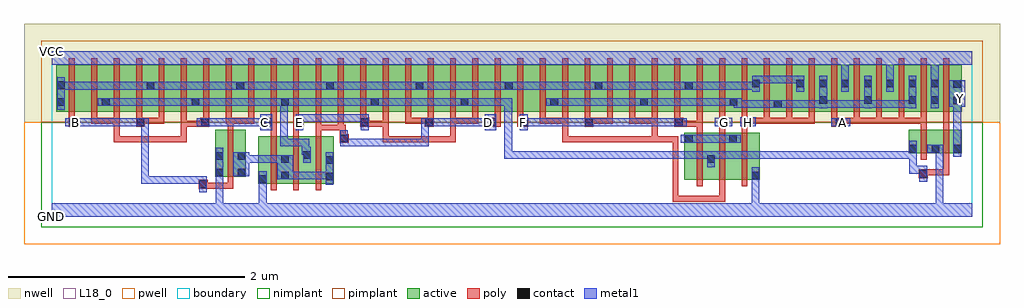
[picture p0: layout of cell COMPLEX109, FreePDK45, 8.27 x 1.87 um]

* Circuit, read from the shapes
.subckt COMPLEX109 A B C D E F G GND H VCC Y
M1 n1 B GND VSUBS nfet w=0.4u l=0.05u
M2 n1 C GND VSUBS nfet w=0.4u l=0.05u
M3 n2 E n1 VSUBS nfet w=0.4u l=0.05u
M4 n1 D n2 VSUBS nfet w=0.4u l=0.05u
M5 n2 F n3 VSUBS nfet w=0.4u l=0.05u
M6 n3 G n2 VSUBS nfet w=0.4u l=0.05u
M7 GND H n3 VSUBS nfet w=0.4u l=0.05u
M8 GND A n2 VSUBS nfet w=0.2u l=0.05u
M9 Y n2 GND VSUBS nfet w=0.2u l=0.05u
M10 n4 B n5 n6 pfet w=0.4u l=0.05u
M11 n2 C n4 n6 pfet w=0.4u l=0.05u
M12 n7 C n2 n6 pfet w=0.4u l=0.05u
M13 n5 B n7 n6 pfet w=0.4u l=0.05u
M14 n8 B n5 n6 pfet w=0.4u l=0.05u
M15 n2 C n8 n6 pfet w=0.4u l=0.05u
M16 n9 C n2 n6 pfet w=0.4u l=0.05u
M17 n5 B n9 n6 pfet w=0.4u l=0.05u
M18 n10 B n5 n6 pfet w=0.4u l=0.05u
M19 n2 C n10 n6 pfet w=0.4u l=0.05u
M20 n11 E n2 n6 pfet w=0.4u l=0.05u
M21 n5 D n11 n6 pfet w=0.4u l=0.05u
M22 n12 D n5 n6 pfet w=0.4u l=0.05u
M23 n2 E n12 n6 pfet w=0.4u l=0.05u
M24 n13 E n2 n6 pfet w=0.4u l=0.05u
M25 n5 D n13 n6 pfet w=0.4u l=0.05u
M26 n14 D n5 n6 pfet w=0.4u l=0.05u
M27 n2 E n14 n6 pfet w=0.4u l=0.05u
M28 n15 E n2 n6 pfet w=0.4u l=0.05u
M29 n5 D n15 n6 pfet w=0.4u l=0.05u
M30 n16 F n5 n6 pfet w=0.4u l=0.05u
M31 n17 G n16 n6 pfet w=0.4u l=0.05u
M32 n18 G n17 n6 pfet w=0.4u l=0.05u
M33 n5 F n18 n6 pfet w=0.4u l=0.05u
M34 n19 F n5 n6 pfet w=0.4u l=0.05u
M35 n17 G n19 n6 pfet w=0.4u l=0.05u
M36 n20 G n17 n6 pfet w=0.4u l=0.05u
M37 n5 F n20 n6 pfet w=0.4u l=0.05u
M38 n21 F n5 n6 pfet w=0.4u l=0.05u
M39 n17 G n21 n6 pfet w=0.4u l=0.05u
M40 n5 H n17 n6 pfet w=0.4u l=0.05u m=4
M41 VCC A n17 n6 pfet w=0.4u l=0.05u m=5
M42 Y n2 VCC n6 pfet w=0.4u l=0.05u
.ends

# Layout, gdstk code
import gdstk
lib = gdstk.Library(unit=1e-6, precision=1e-09)
def R(c, l, rs):  # rectangles x0, y0, x1, y1
    for r in rs: c.add(gdstk.rectangle(r[:2], r[2:], *l))
def A(c, l, x, y, w, h, nx, ny, dx, dy):  # array of equal rectangles
    R(c, l, [(x+i*dx, y+j*dy, x+i*dx+w, y+j*dy+h) for i in range(nx) for j in range(ny)])
active = (1, 0)
pwell = (2, 0)
nwell = (3, 0)
nimplant = (4, 0)
pimplant = (5, 0)
poly = (9, 0)
contact = (10, 0)
metal1 = (11, 0)
L18_0 = (18, 0)
boundary = (235, 0)

complex109 = lib.new_cell('COMPLEX109')
A(complex109, active, 0.04, 0.887, 0.225, 0.4, 10, 1, 0.38, 0)
A(complex109, active, 0.265, 0.887, 0.23, 0.4, 9, 1, 0.38, 0)
A(complex109, active, 4.825, 0.887, 0.23, 0.4, 3, 1, 0.38, 0)
A(complex109, active, 7.065, 0.887, 0.265, 0.4, 3, 1, 0.19, 0)
A(complex109, active, 0.42, 0.907, 0.075, 0.163, 7, 1, 0.76, 0)
A(complex109, active, 0.8, 0.907, 0.075, 0.293, 4, 1, 0.76, 0)
A(complex109, active, 6.685, 0.907, 0.075, 0.348, 3, 1, 0.38, 0)
R(complex109, active, [(1.75,0.28,2.015,0.68), (1.75,0.28,1.825,0.492), (1.94,0.28,2.2,0.68), (2.125,0.28,2.39,0.68), (2.315,0.28,2.39,0.68), (1.94,0.312,2.015,0.527), (5.36,0.312,5.625,0.712), (5.55,0.312,5.81,0.712), (5.735,0.312,6,0.712), (5.925,0.312,6,0.597), (5.36,0.33,5.435,0.712), (5.735,0.332,5.81,0.712), (1.385,0.337,1.645,0.737), (1.385,0.337,1.46,0.737), (1.57,0.337,1.645,0.737), (2.125,0.345,2.2,0.56), (5.55,0.345,5.625,0.597), (7.26,0.537,7.335,0.737), (7.26,0.537,7.525,0.737), (7.45,0.537,7.525,0.737), (7.45,0.537,7.71,0.737), (7.635,0.537,7.71,0.737), (0.04,0.887,0.145,1.2), (3.685,0.887,3.91,1.287), (3.835,0.887,4.065,1.287), (4.065,0.887,4.295,1.287), (4.22,0.887,4.445,1.287), (4.445,0.887,4.67,1.287), (4.595,0.887,4.825,1.287), (4.98,0.887,5.205,1.287), (5.36,0.887,5.585,1.287), (5.74,0.887,6.005,1.287), (5.74,0.887,5.815,1.07), (5.93,0.887,6.19,1.287), (6.115,0.887,6.38,1.287), (6.115,0.887,6.19,1.07), (6.305,0.887,6.575,1.287), (6.5,0.887,6.76,1.287), (6.685,0.887,6.955,1.287), (6.88,0.887,7.14,1.287), (7.255,0.887,7.33,1.2), (7.635,0.887,7.71,1.2), (3.835,0.907,3.91,1.2), (4.595,0.907,4.67,1.2), (5.36,0.907,5.435,1.2), (5.93,0.907,6.005,1.2), (6.305,0.907,6.38,1.2), (6.5,0.907,6.575,1.2), (6.88,0.907,6.955,1.2)])
R(complex109, pwell, [(-0.235,-0.235,8.035,0.8)])
R(complex109, nwell, [(-0.235,0.8,8.035,1.635)])
R(complex109, nimplant, [(-0.09,-0.09,7.89,0.8)])
R(complex109, pimplant, [(-0.09,0.8,7.89,1.49)])
A(complex109, poly, 1.855, 0.225, 0.05, 0.51, 3, 1, 0.19, 0)
A(complex109, poly, 5.465, 0.257, 0.05, 0.51, 3, 1, 0.19, 0)
A(complex109, poly, 5.465, 0.717, 0.05, 0.095, 3, 1, 0.19, 0)
A(complex109, poly, 2.045, 0.762, 0.092, 0.075, 3, 1, 1.9, 0)
A(complex109, poly, 0.145, 0.787, 0.05, 0.095, 5, 1, 0.19, 0)
A(complex109, poly, 1.285, 0.787, 0.05, 0.095, 5, 1, 0.19, 0)
A(complex109, poly, 2.995, 0.787, 0.05, 0.095, 13, 1, 0.19, 0)
A(complex109, poly, 3.375, 0.787, 0.24, 0.05, 3, 1, 0.76, 0)
A(complex109, poly, 4.705, 0.787, 0.05, 0.05, 3, 1, 0.19, 0)
A(complex109, poly, 5.655, 0.787, 0.05, 0.095, 11, 1, 0.19, 0)
A(complex109, poly, 6.795, 0.787, 0.24, 0.05, 3, 1, 0.19, 0)
A(complex109, poly, 7.175, 0.787, 0.05, 0.05, 3, 1, 0.19, 0)
A(complex109, poly, 0.145, 0.832, 0.05, 0.51, 40, 1, 0.19, 0)
R(complex109, poly, [(5.26,0.125,5.31,0.175), (5.26,0.125,5.31,0.175), (5.26,0.125,5.31,0.175), (5.26,0.125,5.482,0.175), (5.26,0.125,5.31,0.68), (5.432,0.125,5.482,0.175), (5.432,0.125,5.482,0.175), (5.432,0.125,5.482,0.175), (5.432,0.125,5.705,0.175), (5.655,0.125,5.705,0.175), (5.655,0.125,5.705,0.175), (5.655,0.125,5.705,0.175), (5.655,0.125,5.705,0.307), (1.245,0.237,1.32,0.312), (1.27,0.237,1.32,0.287), (1.27,0.237,1.32,0.287), (1.27,0.237,1.32,0.287), (1.27,0.237,1.32,0.287), (1.27,0.237,1.54,0.287), (1.49,0.237,1.54,0.332), (1.49,0.237,1.54,0.287), (1.49,0.282,1.54,0.792), (7.347,0.325,7.422,0.4), (7.372,0.35,7.422,0.4), (7.372,0.35,7.422,0.4), (7.372,0.35,7.605,0.4), (7.555,0.35,7.605,0.4), (7.555,0.35,7.605,0.532), (7.365,0.482,7.415,0.792), (7.555,0.482,7.605,0.792), (2.44,0.625,2.515,0.7), (0.525,0.63,0.575,0.68), (0.525,0.63,0.575,0.837), (0.525,0.63,0.707,0.68), (0.657,0.63,0.707,0.68), (0.657,0.63,0.707,0.68), (0.657,0.63,0.707,0.68), (0.657,0.63,0.88,0.68), (0.83,0.63,0.88,0.68), (0.83,0.63,1.012,0.68), (0.962,0.63,1.012,0.68), (0.962,0.63,1.012,0.68), (0.962,0.63,1.012,0.68), (0.962,0.63,1.145,0.68), (1.095,0.63,1.145,0.68), (1.095,0.63,1.145,0.68), (1.095,0.63,1.145,0.68), (1.095,0.63,1.145,0.812), (2.805,0.63,2.855,0.68), (2.805,0.63,2.855,0.68), (2.805,0.63,2.855,0.68), (2.805,0.63,2.855,0.68), (2.805,0.63,2.855,0.68), (2.805,0.63,2.855,0.812), (2.805,0.63,3.077,0.68), (3.027,0.63,3.077,0.68), (3.027,0.63,3.077,0.68), (3.027,0.63,3.077,0.68), (3.027,0.63,3.292,0.68), (3.242,0.63,3.292,0.68), (3.242,0.63,3.292,0.68), (3.242,0.63,3.292,0.68), (3.242,0.63,3.425,0.68), (3.375,0.63,3.425,0.68), (3.375,0.63,3.425,0.837), (4.325,0.63,4.375,0.68), (4.325,0.63,4.375,0.68), (4.325,0.63,4.375,0.68), (4.325,0.63,4.375,0.68), (4.325,0.63,4.375,0.68), (4.325,0.63,4.375,0.68), (4.325,0.63,4.375,0.68), (4.325,0.63,4.375,0.837), (4.325,0.63,4.585,0.68), (4.535,0.63,4.585,0.68), (4.535,0.63,4.585,0.68), (4.535,0.63,4.585,0.68), (4.535,0.63,4.755,0.68), (4.705,0.63,4.755,0.68), (4.705,0.63,4.887,0.68), (4.837,0.63,4.887,0.68), (4.837,0.63,4.887,0.68), (4.837,0.63,4.887,0.68), (4.837,0.63,5.135,0.68), (5.085,0.63,5.135,0.68), (5.085,0.63,5.135,0.68), (5.085,0.63,5.135,0.68), (5.085,0.63,5.135,0.68), (5.085,0.63,5.135,0.68), (5.085,0.63,5.135,0.68), (5.085,0.63,5.135,0.68), (5.085,0.63,5.31,0.68), (5.085,0.63,5.135,0.837), (5.26,0.63,5.31,0.68), (5.26,0.63,5.31,0.68), (5.26,0.63,5.31,0.68), (2.44,0.65,2.49,0.78), (1.855,0.685,1.905,0.812), (2.045,0.685,2.095,0.812), (2.235,0.685,2.285,0.78), (2.235,0.73,2.285,0.78), (2.235,0.73,2.475,0.78), (2.235,0.73,2.285,0.882), (2.425,0.73,2.475,0.78), (2.425,0.73,2.475,0.78), (2.425,0.73,2.475,0.78), (2.425,0.73,2.475,0.78), (2.425,0.73,2.475,0.882), (2.425,0.73,2.49,0.78), (1.49,0.742,1.54,0.837), (7.365,0.742,7.415,0.837), (7.555,0.742,7.605,0.837), (0.145,0.762,0.22,0.837), (0.715,0.762,0.79,0.837), (1.095,0.762,1.145,0.812), (1.095,0.762,1.145,0.812), (1.095,0.762,1.145,0.812), (1.095,0.762,1.145,0.882), (1.095,0.762,1.31,0.812), (1.26,0.762,1.335,0.837), (1.797,0.762,1.905,0.837), (2.615,0.762,2.69,0.837), (2.64,0.762,2.69,0.812), (2.64,0.762,2.69,0.812), (2.64,0.762,2.855,0.812), (2.805,0.762,2.855,0.812), (2.805,0.762,2.855,0.882), (3.16,0.762,3.235,0.837), (3.697,0.762,3.805,0.837), (4.515,0.762,4.59,0.837), (5.275,0.762,5.35,0.837), (5.3,0.762,5.515,0.812), (5.465,0.762,5.515,0.812), (5.465,0.762,5.515,0.812), (5.465,0.762,5.515,0.812), (5.465,0.762,5.515,0.882), (5.655,0.762,5.73,0.837), (6.605,0.762,6.712,0.837), (0.335,0.787,0.385,0.837), (0.335,0.787,0.575,0.837), (0.525,0.787,0.575,0.837), (0.525,0.787,0.575,0.837), (0.525,0.787,0.575,0.837), (0.525,0.787,0.575,0.837), (0.525,0.787,0.575,0.837), (0.74,0.787,0.88,0.837), (0.83,0.787,0.88,0.837), (0.83,0.787,0.955,0.837), (0.905,0.787,0.955,0.837), (1.475,0.787,1.54,0.837), (1.49,0.787,1.715,0.837), (1.665,0.787,1.715,0.837), (1.665,0.787,1.715,0.837), (1.665,0.787,1.715,0.837), (2.615,0.787,2.665,0.882), (2.995,0.787,3.045,0.837), (2.995,0.787,3.045,0.837), (2.995,0.787,3.045,0.837), (2.995,0.787,3.21,0.837), (3.375,0.787,3.425,0.837), (3.375,0.787,3.425,0.837), (3.375,0.787,3.425,0.837), (3.565,0.787,3.615,0.837), (3.565,0.787,3.615,0.837), (3.565,0.787,3.615,0.837), (4.135,0.787,4.185,0.837), (4.135,0.787,4.185,0.837), (4.135,0.787,4.185,0.837), (4.325,0.787,4.375,0.837), (4.54,0.787,4.59,0.837), (4.54,0.787,4.59,0.837), (4.54,0.787,4.755,0.837), (5.085,0.787,5.135,0.837), (5.085,0.787,5.135,0.837), (5.887,0.787,6.085,0.837), (6.035,0.787,6.085,0.837), (6.035,0.787,6.085,0.837), (6.035,0.787,6.085,0.837), (6.035,0.787,6.275,0.837), (6.225,0.787,6.275,0.837), (6.225,0.787,6.275,0.837), (6.225,0.787,6.275,0.837), (6.225,0.787,6.465,0.837), (6.415,0.787,6.465,0.837), (6.415,0.787,6.465,0.837), (6.415,0.787,6.465,0.837), (6.662,0.787,6.712,0.837), (6.662,0.787,6.712,0.837), (6.662,0.787,6.845,0.837), (6.795,0.787,6.845,0.837), (6.795,0.787,6.845,0.837), (6.795,0.787,6.845,0.837), (6.985,0.787,7.035,0.837), (6.985,0.787,7.035,0.837), (6.985,0.787,7.035,0.837), (7.175,0.787,7.225,0.837), (7.175,0.787,7.225,0.837)])
A(complex109, contact, 0.425, 0.94, 0.065, 0.065, 8, 1, 0.76, 0)
A(complex109, contact, 0.805, 1.077, 0.065, 0.065, 4, 1, 0.76, 0)
A(complex109, contact, 7.07, 1.095, 0.065, 0.065, 3, 1, 0.19, 0)
R(complex109, contact, [(1.25,0.242,1.315,0.307), (1.755,0.285,1.82,0.35), (2.32,0.307,2.385,0.372), (1.945,0.317,2.01,0.382), (5.93,0.317,5.995,0.382), (7.352,0.33,7.417,0.395), (1.39,0.342,1.455,0.407), (1.575,0.342,1.64,0.407), (2.32,0.447,2.385,0.512), (5.555,0.455,5.62,0.52), (1.945,0.457,2.01,0.522), (1.39,0.482,1.455,0.547), (1.575,0.482,1.64,0.547), (2.13,0.49,2.195,0.555), (7.265,0.542,7.33,0.607), (7.455,0.542,7.52,0.607), (7.64,0.542,7.705,0.607), (5.365,0.627,5.43,0.692), (5.74,0.627,5.805,0.692), (2.445,0.63,2.51,0.695), (0.15,0.767,0.215,0.832), (0.72,0.767,0.785,0.832), (1.265,0.767,1.33,0.832), (1.802,0.767,1.867,0.832), (2.067,0.767,2.132,0.832), (2.62,0.767,2.685,0.832), (3.165,0.767,3.23,0.832), (3.702,0.767,3.767,0.832), (3.967,0.767,4.032,0.832), (4.52,0.767,4.585,0.832), (5.28,0.767,5.345,0.832), (5.66,0.767,5.725,0.832), (5.867,0.767,5.932,0.832), (6.642,0.767,6.707,0.832), (6.12,0.922,6.185,0.987), (0.045,0.94,0.11,1.005), (7.64,0.952,7.705,1.017), (6.505,0.955,6.57,1.02), (6.885,0.955,6.95,1.02), (7.26,0.955,7.325,1.02), (7.45,0.955,7.515,1.02), (3.84,1.077,3.905,1.142), (4.6,1.077,4.665,1.142), (5.365,1.077,5.43,1.142), (0.045,1.08,0.11,1.145), (7.64,1.092,7.705,1.157), (5.935,1.095,6,1.16), (6.31,1.095,6.375,1.16), (6.505,1.095,6.57,1.16), (6.69,1.095,6.755,1.16), (6.885,1.095,6.95,1.16)])
A(complex109, metal1, 1.15, 0.94, 0.135, 0.065, 3, 1, 0.76, 0)
A(complex109, metal1, 3.43, 0.94, 0.135, 0.065, 4, 1, 0.76, 0)
A(complex109, metal1, 6.31, 1.06, 0.065, 0.135, 3, 1, 0.38, 0)
A(complex109, metal1, 6.69, 1.13, 0.065, 0.22, 3, 1, 0.38, 0)
R(complex109, metal1, [(0,0,7.8,0.115), (1.39,0.05,1.455,0.115), (1.39,0.05,1.455,0.115), (1.39,0.05,1.455,0.115), (1.39,0.05,1.455,0.115), (1.39,0.05,1.455,0.372), (1.755,0.05,1.82,0.115), (1.755,0.05,1.82,0.115), (1.755,0.05,1.82,0.315), (5.93,0.05,5.995,0.347), (7.49,0.05,7.555,0.115), (7.49,0.05,7.555,0.115), (7.49,0.05,7.555,0.115), (7.49,0.05,7.555,0.115), (7.49,0.05,7.555,0.607), (1.25,0.207,1.315,0.342), (1.755,0.25,1.82,0.315), (1.755,0.25,1.82,0.315), (1.755,0.25,1.82,0.385), (2.32,0.272,2.385,0.547), (0.757,0.277,0.822,0.342), (0.757,0.277,0.977,0.342), (0.757,0.277,0.822,0.832), (0.912,0.277,0.977,0.342), (0.912,0.277,1.077,0.342), (1.012,0.277,1.077,0.342), (1.012,0.277,1.077,0.342), (1.012,0.277,1.077,0.342), (1.012,0.277,1.147,0.342), (1.082,0.277,1.147,0.342), (1.082,0.277,1.215,0.342), (1.15,0.277,1.215,0.342), (1.15,0.277,1.315,0.342), (5.93,0.282,5.995,0.347), (5.93,0.282,5.995,0.347), (5.93,0.282,5.995,0.347), (5.93,0.282,5.995,0.347), (5.93,0.282,5.995,0.417), (7.352,0.295,7.417,0.43), (1.39,0.307,1.455,0.582), (1.91,0.317,2.045,0.522), (1.98,0.317,2.182,0.382), (2.117,0.317,2.182,0.382), (2.117,0.317,2.182,0.382), (2.117,0.317,2.182,0.382), (2.117,0.317,2.32,0.382), (2.255,0.317,2.32,0.382), (2.255,0.317,2.385,0.382), (1.54,0.342,1.675,0.547), (7.265,0.365,7.417,0.43), (7.265,0.365,7.33,0.555), (5.555,0.42,5.62,0.555), (2.13,0.455,2.195,0.59), (1.61,0.457,1.675,0.522), (1.61,0.457,1.675,0.522), (1.61,0.457,1.837,0.522), (1.772,0.457,1.837,0.522), (1.772,0.457,1.92,0.522), (1.855,0.457,1.92,0.522), (1.855,0.457,1.975,0.522), (3.835,0.49,3.9,0.555), (3.835,0.49,3.9,0.555), (3.835,0.49,3.9,0.555), (3.835,0.49,3.94,0.555), (3.835,0.49,3.9,1.005), (3.875,0.49,3.94,0.555), (3.875,0.49,4.077,0.555), (4.012,0.49,4.077,0.555), (4.012,0.49,4.077,0.555), (4.012,0.49,4.077,0.555), (4.012,0.49,4.077,0.555), (4.012,0.49,4.077,0.555), (4.012,0.49,4.17,0.555), (4.105,0.49,4.17,0.555), (4.105,0.49,4.307,0.555), (4.242,0.49,4.307,0.555), (4.242,0.49,4.307,0.555), (4.242,0.49,4.307,0.555), (4.242,0.49,4.462,0.555), (4.397,0.49,4.462,0.555), (4.397,0.49,4.462,0.555), (4.397,0.49,4.462,0.555), (4.397,0.49,4.7,0.555), (4.635,0.49,4.7,0.555), (4.635,0.49,4.767,0.555), (4.702,0.49,4.767,0.555), (4.702,0.49,4.837,0.555), (4.772,0.49,4.837,0.555), (4.772,0.49,4.982,0.555), (4.917,0.49,4.982,0.555), (4.917,0.49,5.12,0.555), (5.055,0.49,5.12,0.555), (5.055,0.49,5.12,0.555), (5.055,0.49,5.12,0.555), (5.055,0.49,5.257,0.555), (5.192,0.49,5.257,0.555), (5.192,0.49,5.327,0.555), (5.262,0.49,5.327,0.555), (5.262,0.49,5.465,0.555), (5.4,0.49,5.465,0.555), (5.4,0.49,5.465,0.555), (5.4,0.49,5.465,0.555), (5.4,0.49,5.62,0.555), (5.555,0.49,5.62,0.555), (5.555,0.49,5.62,0.555), (5.555,0.49,5.857,0.555), (5.792,0.49,5.857,0.555), (5.792,0.49,5.857,0.555), (5.792,0.49,5.857,0.555), (5.792,0.49,6.012,0.555), (5.947,0.49,6.012,0.555), (5.947,0.49,6.082,0.555), (6.017,0.49,6.082,0.555), (6.017,0.49,6.22,0.555), (6.155,0.49,6.22,0.555), (6.155,0.49,6.357,0.555), (6.292,0.49,6.357,0.555), (6.292,0.49,6.357,0.555), (6.292,0.49,6.357,0.555), (6.292,0.49,6.495,0.555), (6.43,0.49,6.495,0.555), (6.43,0.49,6.617,0.555), (6.552,0.49,6.617,0.555), (6.552,0.49,6.672,0.555), (6.607,0.49,6.672,0.555), (6.607,0.49,6.81,0.555), (6.745,0.49,6.81,0.555), (6.745,0.49,6.81,0.555), (6.745,0.49,6.81,0.555), (6.745,0.49,6.947,0.555), (6.882,0.49,6.947,0.555), (6.882,0.49,6.947,0.555), (6.882,0.49,6.947,0.555), (6.882,0.49,7.187,0.555), (7.122,0.49,7.187,0.555), (7.122,0.49,7.187,0.555), (7.122,0.49,7.187,0.555), (7.122,0.49,7.33,0.555), (7.265,0.49,7.33,0.572), (7.265,0.507,7.33,0.642), (7.64,0.507,7.705,0.642), (2.117,0.525,2.182,0.66), (2.117,0.525,2.195,0.59), (7.42,0.542,7.555,0.607), (7.49,0.542,7.555,0.607), (7.49,0.542,7.555,0.607), (7.49,0.542,7.555,0.607), (7.49,0.542,7.555,0.607), (7.64,0.577,7.705,0.642), (7.64,0.577,7.705,0.642), (7.64,0.577,7.705,0.997), (1.935,0.595,2,0.66), (1.935,0.595,2.182,0.66), (1.935,0.595,2,1.005), (2.445,0.595,2.51,0.73), (2.445,0.595,2.597,0.66), (2.532,0.595,2.597,0.66), (2.532,0.595,2.685,0.66), (2.62,0.595,2.685,0.66), (2.62,0.595,2.84,0.66), (2.775,0.595,2.84,0.66), (2.775,0.595,2.84,0.66), (2.775,0.595,2.84,0.66), (2.775,0.595,2.977,0.66), (2.912,0.595,2.977,0.66), (2.912,0.595,2.977,0.66), (2.912,0.595,2.977,0.66), (2.912,0.595,2.977,0.66), (2.912,0.595,2.977,0.66), (2.912,0.595,3.195,0.66), (3.13,0.595,3.195,0.66), (3.13,0.595,3.195,0.832), (5.33,0.627,5.465,0.692), (5.4,0.627,5.465,0.692), (5.4,0.627,5.465,0.692), (5.4,0.627,5.602,0.692), (5.537,0.627,5.602,0.692), (5.537,0.627,5.602,0.692), (5.537,0.627,5.602,0.692), (5.537,0.627,5.77,0.692), (5.705,0.627,5.84,0.692), (1.767,0.732,1.867,0.867), (2.067,0.732,2.132,0.867), (2.62,0.732,2.685,0.867), (3.667,0.732,3.767,0.867), (3.967,0.732,4.032,0.867), (5.832,0.765,5.967,0.842), (0.115,0.767,0.267,0.832), (0.202,0.767,0.267,0.832), (0.202,0.767,0.267,0.832), (0.202,0.767,0.405,0.832), (0.34,0.767,0.405,0.832), (0.34,0.767,0.542,0.832), (0.477,0.767,0.542,0.832), (0.477,0.767,0.542,0.832), (0.477,0.767,0.542,0.832), (0.477,0.767,0.685,0.832), (0.62,0.767,0.685,0.832), (0.62,0.767,0.75,0.832), (0.685,0.767,0.82,0.832), (0.755,0.767,0.822,0.832), (0.757,0.767,0.822,0.832), (0.757,0.767,0.822,0.832), (0.757,0.767,0.822,0.832), (0.757,0.767,0.822,0.832), (0.757,0.767,0.822,0.832), (1.23,0.767,1.365,0.832), (1.3,0.767,1.422,0.832), (1.357,0.767,1.422,0.832), (1.357,0.767,1.527,0.832), (1.462,0.767,1.527,0.832), (1.462,0.767,1.675,0.832), (1.61,0.767,1.675,0.832), (1.61,0.767,1.675,0.832), (1.61,0.767,1.675,0.832), (1.61,0.767,1.832,0.832), (1.767,0.767,1.832,0.832), (1.767,0.767,1.832,0.832), (3.13,0.767,3.195,0.832), (3.13,0.767,3.195,0.832), (3.13,0.767,3.265,0.832), (3.2,0.767,3.357,0.832), (3.292,0.767,3.357,0.832), (3.292,0.767,3.427,0.832), (3.362,0.767,3.427,0.832), (3.362,0.767,3.595,0.832), (3.53,0.767,3.595,0.832), (3.53,0.767,3.595,0.832), (3.53,0.767,3.595,0.832), (3.53,0.767,3.732,0.832), (3.667,0.767,3.732,0.832), (3.667,0.767,3.732,0.832), (3.967,0.767,4.077,0.832), (4.012,0.767,4.077,0.832), (4.012,0.767,4.17,0.832), (4.105,0.767,4.17,0.832), (4.105,0.767,4.307,0.832), (4.242,0.767,4.307,0.832), (4.242,0.767,4.307,0.832), (4.242,0.767,4.307,0.832), (4.242,0.767,4.462,0.832), (4.397,0.767,4.462,0.832), (4.397,0.767,4.55,0.832), (4.485,0.767,4.62,0.832), (4.555,0.767,4.62,0.832), (4.555,0.767,4.62,0.832), (4.555,0.767,4.767,0.832), (4.702,0.767,4.767,0.832), (4.702,0.767,4.877,0.832), (4.812,0.767,4.877,0.832), (4.812,0.767,4.982,0.832), (4.917,0.767,4.982,0.832), (4.917,0.767,5.12,0.832), (5.055,0.767,5.12,0.832), (5.055,0.767,5.12,0.832), (5.055,0.767,5.12,0.832), (5.055,0.767,5.257,0.832), (5.192,0.767,5.257,0.832), (5.192,0.767,5.31,0.832), (5.245,0.767,5.38,0.832), (5.62,0.767,5.767,0.837), (6.607,0.767,6.767,0.832), (2.067,0.802,2.182,0.867), (2.117,0.802,2.182,0.867), (2.117,0.802,2.32,0.867), (2.255,0.802,2.32,0.867), (2.255,0.802,2.46,0.867), (2.395,0.802,2.46,0.867), (2.395,0.802,2.547,0.867), (2.482,0.802,2.547,0.867), (2.482,0.802,2.597,0.867), (2.532,0.802,2.597,0.867), (2.532,0.802,2.685,0.867), (0.045,0.905,0.11,1.18), (6.505,0.92,6.57,1.195), (6.885,0.92,6.95,1.195), (7.26,0.92,7.325,1.195), (7.45,0.92,7.515,1.195), (5.78,0.922,5.995,0.987), (5.78,0.922,5.845,1.005), (5.93,0.922,5.995,0.987), (5.93,0.922,6.06,0.987), (5.995,0.922,6.06,0.987), (5.995,0.922,6.15,0.987), (6.085,0.922,6.22,0.987), (6.155,0.922,6.22,0.987), (6.155,0.922,6.22,0.987), (6.155,0.922,6.357,0.987), (6.292,0.922,6.357,0.987), (6.292,0.922,6.535,0.987), (6.47,0.922,6.535,0.987), (6.47,0.922,6.57,0.987), (6.505,0.922,6.672,0.987), (6.607,0.922,6.672,0.987), (6.607,0.922,6.81,0.987), (6.745,0.922,6.81,0.987), (6.745,0.922,6.81,0.987), (6.745,0.922,6.81,0.987), (6.745,0.922,6.95,0.987), (6.885,0.922,6.95,0.987), (6.885,0.922,6.95,0.987), (6.885,0.922,7.187,0.987), (7.122,0.922,7.187,0.987), (7.122,0.922,7.187,0.987), (7.122,0.922,7.187,0.987), (7.122,0.922,7.325,0.987), (7.605,0.932,7.74,1.157), (7.64,0.932,7.705,0.997), (7.64,0.932,7.705,0.997), (7.64,0.932,7.705,0.997), (7.64,0.932,7.705,0.997), (0.39,0.94,0.525,1.005), (0.46,0.94,0.542,1.005), (0.477,0.94,0.542,1.005), (0.477,0.94,0.685,1.005), (0.62,0.94,0.685,1.005), (0.62,0.94,0.822,1.005), (0.757,0.94,0.822,1.005), (0.757,0.94,0.822,1.005), (0.757,0.94,0.822,1.005), (0.757,0.94,1.01,1.005), (0.945,0.94,1.01,1.005), (0.945,0.94,1.077,1.005), (1.012,0.94,1.077,1.005), (1.012,0.94,1.147,1.005), (1.082,0.94,1.147,1.005), (1.082,0.94,1.215,1.005), (1.22,0.94,1.285,1.005), (1.22,0.94,1.285,1.005), (1.22,0.94,1.422,1.005), (1.357,0.94,1.422,1.005), (1.357,0.94,1.502,1.005), (1.437,0.94,1.502,1.005), (1.437,0.94,1.56,1.005), (1.495,0.94,1.56,1.005), (1.495,0.94,1.675,1.005), (1.61,0.94,1.675,1.005), (1.61,0.94,1.812,1.005), (1.747,0.94,1.812,1.005), (1.747,0.94,1.812,1.005), (1.747,0.94,1.812,1.005), (1.747,0.94,1.975,1.005), (1.935,0.94,2,1.005), (1.935,0.94,2,1.005), (1.98,0.94,2.057,1.005), (1.992,0.94,2.057,1.005), (1.992,0.94,2.217,1.005), (2.152,0.94,2.217,1.005), (2.152,0.94,2.32,1.005), (2.255,0.94,2.32,1.005), (2.255,0.94,2.457,1.005), (2.392,0.94,2.457,1.005), (2.392,0.94,2.457,1.005), (2.392,0.94,2.457,1.005), (2.392,0.94,2.597,1.005), (2.532,0.94,2.597,1.005), (2.532,0.94,2.702,1.005), (2.637,0.94,2.702,1.005), (2.637,0.94,2.735,1.005), (2.74,0.94,2.84,1.005), (2.775,0.94,2.84,1.005), (2.775,0.94,2.977,1.005), (2.912,0.94,2.977,1.005), (2.912,0.94,2.977,1.005), (2.912,0.94,2.977,1.005), (2.912,0.94,3.22,1.005), (3.155,0.94,3.22,1.005), (3.155,0.94,3.22,1.005), (3.155,0.94,3.22,1.005), (3.155,0.94,3.357,1.005), (3.292,0.94,3.357,1.005), (3.292,0.94,3.427,1.005), (3.362,0.94,3.427,1.005), (3.362,0.94,3.495,1.005), (3.5,0.94,3.565,1.005), (3.5,0.94,3.565,1.005), (3.5,0.94,3.732,1.005), (3.667,0.94,3.732,1.005), (3.667,0.94,3.732,1.005), (3.667,0.94,3.732,1.005), (3.667,0.94,3.9,1.005), (3.835,0.94,3.9,1.005), (4.26,0.94,4.325,1.005), (4.26,0.94,4.325,1.005), (4.26,0.94,4.482,1.005), (4.417,0.94,4.482,1.005), (4.417,0.94,4.482,1.005), (4.417,0.94,4.482,1.005), (4.417,0.94,4.7,1.005), (4.635,0.94,4.7,1.005), (4.635,0.94,4.845,1.005), (4.78,0.94,4.845,1.005), (4.78,0.94,4.877,1.005), (4.812,0.94,4.877,1.005), (4.812,0.94,4.982,1.005), (4.917,0.94,4.982,1.005), (4.917,0.94,5.015,1.005), (5.02,0.94,5.12,1.005), (5.055,0.94,5.12,1.005), (5.055,0.94,5.257,1.005), (5.192,0.94,5.257,1.005), (5.192,0.94,5.257,1.005), (5.192,0.94,5.257,1.005), (5.192,0.94,5.465,1.005), (5.4,0.94,5.465,1.005), (5.4,0.94,5.465,1.005), (5.4,0.94,5.465,1.005), (5.4,0.94,5.632,1.005), (5.567,0.94,5.632,1.005), (5.567,0.94,5.632,1.005), (5.567,0.94,5.632,1.005), (5.567,0.94,5.775,1.005), (5.78,0.94,5.845,1.005), (5.935,1.06,6,1.195), (0.045,1.077,0.267,1.142), (0.202,1.077,0.267,1.142), (0.202,1.077,0.267,1.142), (0.202,1.077,0.267,1.142), (0.202,1.077,0.405,1.142), (0.34,1.077,0.405,1.142), (0.34,1.077,0.547,1.142), (0.482,1.077,0.547,1.142), (0.482,1.077,0.547,1.142), (0.482,1.077,0.547,1.142), (0.482,1.077,0.685,1.142), (0.62,1.077,0.685,1.142), (0.62,1.077,0.685,1.142), (0.62,1.077,0.685,1.142), (0.62,1.077,0.835,1.142), (0.77,1.077,0.905,1.142), (0.84,1.077,1.01,1.142), (0.945,1.077,1.01,1.142), (0.945,1.077,1.077,1.142), (1.012,1.077,1.077,1.142), (1.012,1.077,1.147,1.142), (1.082,1.077,1.147,1.142), (1.082,1.077,1.285,1.142), (1.22,1.077,1.285,1.142), (1.22,1.077,1.285,1.142), (1.22,1.077,1.285,1.142), (1.22,1.077,1.422,1.142), (1.357,1.077,1.422,1.142), (1.357,1.077,1.527,1.142), (1.462,1.077,1.527,1.142), (1.462,1.077,1.595,1.142), (1.53,1.077,1.665,1.142), (1.6,1.077,1.665,1.142), (1.6,1.077,1.665,1.142), (1.6,1.077,1.837,1.142), (1.772,1.077,1.837,1.142), (1.772,1.077,1.837,1.142), (1.772,1.077,1.837,1.142), (1.772,1.077,1.975,1.142), (1.91,1.077,1.975,1.142), (1.91,1.077,2.132,1.142), (2.067,1.077,2.132,1.142), (2.067,1.077,2.217,1.142), (2.152,1.077,2.217,1.142), (2.152,1.077,2.32,1.142), (2.255,1.077,2.32,1.142), (2.255,1.077,2.355,1.142), (2.29,1.077,2.425,1.142), (2.36,1.077,2.527,1.142), (2.462,1.077,2.527,1.142), (2.462,1.077,2.597,1.142), (2.532,1.077,2.597,1.142), (2.532,1.077,2.685,1.142), (2.62,1.077,2.685,1.142), (2.62,1.077,2.84,1.142), (2.775,1.077,2.84,1.142), (2.775,1.077,2.84,1.142), (2.775,1.077,2.84,1.142), (2.775,1.077,2.977,1.142), (2.912,1.077,2.977,1.142), (2.912,1.077,2.977,1.142), (2.912,1.077,2.977,1.142), (2.912,1.077,3.115,1.142), (3.05,1.077,3.185,1.142), (3.12,1.077,3.185,1.142), (3.12,1.077,3.185,1.142), (3.12,1.077,3.357,1.142), (3.292,1.077,3.357,1.142), (3.292,1.077,3.427,1.142), (3.362,1.077,3.427,1.142), (3.362,1.077,3.595,1.142), (3.53,1.077,3.595,1.142), (3.53,1.077,3.595,1.142), (3.53,1.077,3.595,1.142), (3.53,1.077,3.732,1.142), (3.667,1.077,3.732,1.142), (3.667,1.077,3.732,1.142), (3.667,1.077,3.732,1.142), (3.667,1.077,3.87,1.142), (3.805,1.077,3.94,1.142), (3.875,1.077,3.94,1.142), (3.875,1.077,3.94,1.142), (3.875,1.077,3.94,1.142), (3.875,1.077,3.94,1.142), (3.875,1.077,4.077,1.142), (4.012,1.077,4.077,1.142), (4.012,1.077,4.17,1.142), (4.105,1.077,4.17,1.142), (4.105,1.077,4.307,1.142), (4.242,1.077,4.307,1.142), (4.242,1.077,4.307,1.142), (4.242,1.077,4.307,1.142), (4.242,1.077,4.462,1.142), (4.397,1.077,4.462,1.142), (4.397,1.077,4.63,1.142), (4.565,1.077,4.63,1.142), (4.565,1.077,4.63,1.142), (4.565,1.077,4.7,1.142), (4.635,1.077,4.767,1.142), (4.702,1.077,4.767,1.142), (4.702,1.077,4.877,1.142), (4.812,1.077,4.877,1.142), (4.812,1.077,4.982,1.142), (4.917,1.077,4.982,1.142), (4.917,1.077,5.12,1.142), (5.055,1.077,5.12,1.142), (5.055,1.077,5.12,1.142), (5.055,1.077,5.12,1.142), (5.055,1.077,5.257,1.142), (5.192,1.077,5.257,1.142), (5.192,1.077,5.257,1.142), (5.192,1.077,5.257,1.142), (5.192,1.077,5.395,1.142), (5.33,1.077,5.465,1.142), (5.4,1.077,5.465,1.142), (5.4,1.077,5.465,1.142), (5.4,1.077,5.632,1.142), (5.567,1.077,5.632,1.142), (5.567,1.077,5.632,1.142), (5.567,1.077,5.632,1.142), (5.567,1.077,5.857,1.142), (5.792,1.077,5.857,1.142), (5.792,1.077,5.857,1.142), (5.792,1.077,5.857,1.142), (5.792,1.077,6,1.142), (5.935,1.13,6.082,1.195), (6.017,1.13,6.082,1.195), (6.017,1.13,6.22,1.195), (6.155,1.13,6.22,1.195), (6.155,1.13,6.22,1.195), (6.155,1.13,6.22,1.195), (6.155,1.13,6.375,1.195), (0,1.285,7.8,1.4)])
A(complex109, L18_0, 6.69, 1.13, 0.065, 0.22, 3, 1, 0.38, 0)
R(complex109, L18_0, [(0,0,7.8,0.115), (1.39,0.05,1.455,0.115), (1.39,0.05,1.455,0.115), (1.39,0.05,1.455,0.115), (1.39,0.05,1.455,0.115), (1.39,0.05,1.455,0.372), (1.755,0.05,1.82,0.115), (1.755,0.05,1.82,0.115), (1.755,0.05,1.82,0.315), (5.93,0.05,5.995,0.347), (7.49,0.05,7.555,0.115), (7.49,0.05,7.555,0.115), (7.49,0.05,7.555,0.115), (7.49,0.05,7.555,0.115), (7.49,0.05,7.555,0.607), (1.25,0.207,1.315,0.342), (1.755,0.25,1.82,0.315), (1.755,0.25,1.82,0.315), (1.755,0.25,1.82,0.385), (0.757,0.277,0.822,0.342), (0.757,0.277,0.822,0.832), (0.757,0.277,0.977,0.342), (0.912,0.277,0.977,0.342), (0.912,0.277,1.077,0.342), (1.012,0.277,1.077,0.342), (1.012,0.277,1.077,0.342), (1.012,0.277,1.077,0.342), (1.012,0.277,1.147,0.342), (1.082,0.277,1.147,0.342), (1.082,0.277,1.215,0.342), (1.15,0.277,1.215,0.342), (1.15,0.277,1.315,0.342), (5.93,0.282,5.995,0.347), (5.93,0.282,5.995,0.347), (5.93,0.282,5.995,0.347), (5.93,0.282,5.995,0.347), (5.93,0.282,5.995,0.417), (1.39,0.307,1.455,0.582), (7.64,0.507,7.705,0.642), (7.42,0.542,7.555,0.607), (7.49,0.542,7.555,0.607), (7.49,0.542,7.555,0.607), (7.49,0.542,7.555,0.607), (7.49,0.542,7.555,0.607), (7.64,0.577,7.705,0.642), (7.64,0.577,7.705,0.642), (7.64,0.577,7.705,0.997), (2.445,0.595,2.597,0.66), (2.445,0.595,2.51,0.73), (2.532,0.595,2.597,0.66), (2.532,0.595,2.685,0.66), (2.62,0.595,2.685,0.66), (2.62,0.595,2.84,0.66), (2.775,0.595,2.84,0.66), (2.775,0.595,2.84,0.66), (2.775,0.595,2.84,0.66), (2.775,0.595,2.977,0.66), (2.912,0.595,2.977,0.66), (2.912,0.595,2.977,0.66), (2.912,0.595,2.977,0.66), (2.912,0.595,2.977,0.66), (2.912,0.595,2.977,0.66), (2.912,0.595,3.195,0.66), (3.13,0.595,3.195,0.66), (3.13,0.595,3.195,0.832), (1.767,0.732,1.867,0.867), (2.067,0.732,2.132,0.867), (2.62,0.732,2.685,0.867), (3.667,0.732,3.767,0.867), (3.967,0.732,4.032,0.867), (5.832,0.765,5.967,0.842), (0.115,0.767,0.267,0.832), (0.167,0.767,0.232,0.832), (0.202,0.767,0.267,0.832), (0.202,0.767,0.267,0.832), (0.202,0.767,0.405,0.832), (0.34,0.767,0.405,0.832), (0.34,0.767,0.542,0.832), (0.477,0.767,0.542,0.832), (0.477,0.767,0.542,0.832), (0.477,0.767,0.542,0.832), (0.477,0.767,0.685,0.832), (0.62,0.767,0.685,0.832), (0.62,0.767,0.75,0.832), (0.685,0.767,0.82,0.832), (0.755,0.767,0.822,0.832), (0.757,0.767,0.822,0.832), (0.757,0.767,0.822,0.832), (0.757,0.767,0.822,0.832), (0.757,0.767,0.822,0.832), (0.757,0.767,0.822,0.832), (1.23,0.767,1.365,0.832), (1.3,0.767,1.422,0.832), (1.357,0.767,1.422,0.832), (1.357,0.767,1.527,0.832), (1.462,0.767,1.527,0.832), (1.462,0.767,1.675,0.832), (1.61,0.767,1.675,0.832), (1.61,0.767,1.675,0.832), (1.61,0.767,1.675,0.832), (1.61,0.767,1.832,0.832), (1.767,0.767,1.832,0.832), (1.767,0.767,1.832,0.832), (1.767,0.767,1.832,0.832), (2.067,0.767,2.132,0.832), (3.13,0.767,3.195,0.832), (3.13,0.767,3.195,0.832), (3.13,0.767,3.265,0.832), (3.2,0.767,3.357,0.832), (3.292,0.767,3.357,0.832), (3.292,0.767,3.427,0.832), (3.362,0.767,3.427,0.832), (3.362,0.767,3.595,0.832), (3.53,0.767,3.595,0.832), (3.53,0.767,3.595,0.832), (3.53,0.767,3.595,0.832), (3.53,0.767,3.732,0.832), (3.667,0.767,3.732,0.832), (3.667,0.767,3.732,0.832), (3.667,0.767,3.732,0.832), (3.967,0.767,4.032,0.832), (3.967,0.767,4.077,0.832), (4.012,0.767,4.077,0.832), (4.012,0.767,4.17,0.832), (4.105,0.767,4.17,0.832), (4.105,0.767,4.307,0.832), (4.242,0.767,4.307,0.832), (4.242,0.767,4.307,0.832), (4.242,0.767,4.307,0.832), (4.242,0.767,4.462,0.832), (4.397,0.767,4.462,0.832), (4.397,0.767,4.55,0.832), (4.485,0.767,4.62,0.832), (4.555,0.767,4.62,0.832), (4.555,0.767,4.62,0.832), (4.555,0.767,4.767,0.832), (4.702,0.767,4.767,0.832), (4.702,0.767,4.877,0.832), (4.812,0.767,4.877,0.832), (4.812,0.767,4.982,0.832), (4.917,0.767,4.982,0.832), (4.917,0.767,5.12,0.832), (5.055,0.767,5.12,0.832), (5.055,0.767,5.12,0.832), (5.055,0.767,5.12,0.832), (5.055,0.767,5.257,0.832), (5.192,0.767,5.257,0.832), (5.192,0.767,5.31,0.832), (5.245,0.767,5.38,0.832), (5.62,0.767,5.767,0.837), (5.667,0.767,5.732,0.832), (5.867,0.767,5.932,0.832), (6.607,0.767,6.767,0.832), (6.667,0.767,6.732,0.832), (2.067,0.802,2.182,0.867), (2.117,0.802,2.182,0.867), (2.117,0.802,2.32,0.867), (2.255,0.802,2.32,0.867), (2.255,0.802,2.46,0.867), (2.395,0.802,2.547,0.867), (2.395,0.802,2.46,0.867), (2.482,0.802,2.547,0.867), (2.482,0.802,2.597,0.867), (2.532,0.802,2.597,0.867), (2.532,0.802,2.685,0.867), (7.45,0.92,7.515,1.195), (7.605,0.932,7.74,1.157), (7.64,0.932,7.705,0.997), (7.64,0.932,7.705,0.997), (7.64,0.932,7.705,0.997), (7.64,0.932,7.705,0.997), (7.667,0.967,7.732,1.032), (6.69,1.06,6.755,1.195), (7.07,1.06,7.135,1.195), (0,1.285,7.8,1.4)])
R(complex109, boundary, [(0,0,7.8,1.4)])
complex109.add(gdstk.Label('A', (6.7,0.8), layer=11, texttype=0))
complex109.add(gdstk.Label('B', (0.2,0.8), layer=11, texttype=0))
complex109.add(gdstk.Label('C', (1.8,0.8), layer=11, texttype=0))
complex109.add(gdstk.Label('D', (3.7,0.8), layer=11, texttype=0))
complex109.add(gdstk.Label('E', (2.1,0.8), layer=11, texttype=0))
complex109.add(gdstk.Label('F', (4,0.8), layer=11, texttype=0))
complex109.add(gdstk.Label('G', (5.7,0.8), layer=11, texttype=0))
complex109.add(gdstk.Label('H', (5.9,0.8), layer=11, texttype=0))
complex109.add(gdstk.Label('Y', (7.7,1), layer=11, texttype=0))
complex109.add(gdstk.Label('VCC', (0,1.4), layer=11, texttype=0))
complex109.add(gdstk.Label('GND', (0,0), layer=11, texttype=0))

lib.write_gds('COMPLEX109.gds')
